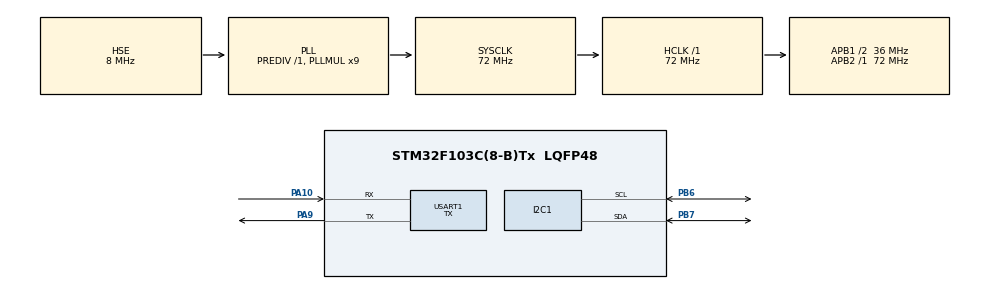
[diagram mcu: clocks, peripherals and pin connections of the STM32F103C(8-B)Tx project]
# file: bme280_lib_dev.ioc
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Mcu.Family=STM32F1
Mcu.Name=STM32F103C(8-B)Tx
Mcu.Package=LQFP48
NVIC.I2C1_EV_IRQn=true\:0\:0\:false\:false\:true\:true\:true\:true
NVIC.PriorityGroup=NVIC_PRIORITYGROUP_4
NVIC.USART1_IRQn=true\:0\:0\:false\:false\:true\:true\:true\:true
PA10.Mode=Asynchronous
PA10.Signal=USART1_RX
PA13.Mode=Serial_Wire
PA13.Signal=SYS_JTMS-SWDIO
PA14.Mode=Serial_Wire
PA14.Signal=SYS_JTCK-SWCLK
PA9.Mode=Asynchronous
PA9.Signal=USART1_TX
PB6.Mode=I2C
PB6.Signal=I2C1_SCL
PB7.Mode=I2C
PB7.Signal=I2C1_SDA
PD0-OSC_IN.Mode=HSE-External-Oscillator
PD0-OSC_IN.Signal=RCC_OSC_IN
PD1-OSC_OUT.Mode=HSE-External-Oscillator
PD1-OSC_OUT.Signal=RCC_OSC_OUT
ProjectManager.HeapSize=0x200
ProjectManager.StackSize=0x400
ProjectManager.TargetToolchain=STM32CubeIDE
RCC.AHBFreq_Value=72000000
RCC.APB1CLKDivider=RCC_HCLK_DIV2
RCC.APB1Freq_Value=36000000
RCC.APB1TimFreq_Value=72000000
RCC.APB2Freq_Value=72000000
RCC.APB2TimFreq_Value=72000000
RCC.HCLKFreq_Value=72000000
RCC.PLLMUL=RCC_PLL_MUL9
RCC.PLLSourceVirtual=RCC_PLLSOURCE_HSE
RCC.SYSCLKFreq_VALUE=72000000
RCC.SYSCLKSource=RCC_SYSCLKSOURCE_PLLCLK
RCC.USBFreq_Value=72000000
USART1.Mode=MODE_TX
USART1.VirtualMode=VM_ASYNC
board=custom

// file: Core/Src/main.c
/* USER CODE BEGIN Header */
/**
 ******************************************************************************
 * @file           : main.c
 * @brief          : Main program body
 ******************************************************************************
 * @attention
 *
 * Copyright (c) 2024 STMicroelectronics.
 * All rights reserved.
 *
 * This software is licensed under terms that can be found in the LICENSE file
 * in the root directory of this software component.
 * If no LICENSE file comes with this software, it is provided AS-IS.
 *
 ******************************************************************************
 */
/* USER CODE END Header */
#include "main.h"
/* USER CODE BEGIN Includes */
#include <stdio.h>
#include "bme280.h"
/* USER CODE END Includes */

I2C_HandleTypeDef hi2c1;

UART_HandleTypeDef huart1;

/* USER CODE BEGIN PV */
BME280_handler_t bme280_hdl;
/* USER CODE END PV */

void SystemClock_Config(void);
static void MX_GPIO_Init(void);
static void MX_I2C1_Init(void);
static void MX_USART1_UART_Init(void);

int main(void) {

	/* MCU Configuration--------------------------------------------------------*/

	/* Reset of all peripherals, Initializes the Flash interface and the Systick. */
	HAL_Init();

	/* Configure the system clock */
	SystemClock_Config();

	/* Initialize all configured peripherals */
	MX_GPIO_Init();
	MX_I2C1_Init();
	MX_USART1_UART_Init();
	/* USER CODE BEGIN 2 */
	BME280_init(&bme280_hdl, I2C, &hi2c1);	// Initializing bme280 handler structure and selecting communication interface

	BME280_measureConfig_t measure_cfg = {};	// Creating and filling measurement config structure
	measure_cfg.filter_coeff = FILTER_X8;
	measure_cfg.hum_oversamp = X1_OVERSAMP;
	measure_cfg.press_oversamp = X4_OVERSAMP;
	measure_cfg.temp_oversamp = X1_OVERSAMP;

	BME280_normal_mode_enable(&bme280_hdl, &measure_cfg);	// Enabling normal mode (continuous measurements)
	BME280_delay(&bme280_hdl, bme280_hdl.current_config->data_flow_info.IIR_response_time);		// Waiting for correct measurements to be established
	/* USER CODE END 2 */

	/* Infinite loop */
	/* USER CODE BEGIN WHILE */
	while (1) {
		BME280_read_comp_parameters(&bme280_hdl, &measure_cfg);		// Reading out and compensating measurement data
		char output[60];	// Buffer for sending sensor data via UART
		int size;			// Output buffer size variable
		while(HAL_UART_GetState(&huart1) != HAL_UART_STATE_READY);	// Waiting for UART module to be free

#if ENABLE_DOUBLE_PRECISION == 1	// Filling output buffer depending on the compensation mode setting
		size = sprintf(output, "pressure: %.2f, temperature: %.2f, humidity: %.2f\n", bme280_hdl.comp_parameters.pressure, \
						   bme280_hdl.comp_parameters.temperature, bme280_hdl.comp_parameters.humidity);
#else
		size = sprintf(output, "pressure: %.2f, temperature: %.2f, humidity: %.2f\n", (float)bme280_hdl.comp_parameters.pressure/256., \
						   (float)bme280_hdl.comp_parameters.temperature/100., (float)bme280_hdl.comp_parameters.humidity/1024.);
#endif
		HAL_UART_Transmit_IT(&huart1, output, size);	// Sending output buffer data via UART

		BME280_delay(&bme280_hdl, bme280_hdl.current_config->data_flow_info.measure_time);	// Waiting for next measurement to be performed
		/* USER CODE END WHILE */

	}
}

void SystemClock_Config(void) {
	RCC_OscInitTypeDef RCC_OscInitStruct = {0};
	RCC_ClkInitTypeDef RCC_ClkInitStruct = {0};

	/** Initializes the RCC Oscillators according to the specified parameters
	 * in the RCC_OscInitTypeDef structure.
	 */
	RCC_OscInitStruct.OscillatorType = RCC_OSCILLATORTYPE_HSE;
	RCC_OscInitStruct.HSEState = RCC_HSE_ON;
	RCC_OscInitStruct.HSEPredivValue = RCC_HSE_PREDIV_DIV1;
	RCC_OscInitStruct.HSIState = RCC_HSI_ON;
	RCC_OscInitStruct.PLL.PLLState = RCC_PLL_ON;
	RCC_OscInitStruct.PLL.PLLSource = RCC_PLLSOURCE_HSE;
	RCC_OscInitStruct.PLL.PLLMUL = RCC_PLL_MUL9;
	if (HAL_RCC_OscConfig(&RCC_OscInitStruct) != HAL_OK) {
		Error_Handler();
	}

	/** Initializes the CPU, AHB and APB buses clocks
	 */
	RCC_ClkInitStruct.ClockType = RCC_CLOCKTYPE_HCLK | RCC_CLOCKTYPE_SYSCLK
			| RCC_CLOCKTYPE_PCLK1 | RCC_CLOCKTYPE_PCLK2;
	RCC_ClkInitStruct.SYSCLKSource = RCC_SYSCLKSOURCE_PLLCLK;
	RCC_ClkInitStruct.AHBCLKDivider = RCC_SYSCLK_DIV1;
	RCC_ClkInitStruct.APB1CLKDivider = RCC_HCLK_DIV2;
	RCC_ClkInitStruct.APB2CLKDivider = RCC_HCLK_DIV1;

	if (HAL_RCC_ClockConfig(&RCC_ClkInitStruct, FLASH_LATENCY_2) != HAL_OK) {
		Error_Handler();
	}
}

static void MX_I2C1_Init(void) {

	hi2c1.Instance = I2C1;
	hi2c1.Init.ClockSpeed = 100000;
	hi2c1.Init.DutyCycle = I2C_DUTYCYCLE_2;
	hi2c1.Init.OwnAddress1 = 0;
	hi2c1.Init.AddressingMode = I2C_ADDRESSINGMODE_7BIT;
	hi2c1.Init.DualAddressMode = I2C_DUALADDRESS_DISABLE;
	hi2c1.Init.OwnAddress2 = 0;
	hi2c1.Init.GeneralCallMode = I2C_GENERALCALL_DISABLE;
	hi2c1.Init.NoStretchMode = I2C_NOSTRETCH_DISABLE;
	if (HAL_I2C_Init(&hi2c1) != HAL_OK) {
		Error_Handler();
	}

}

static void MX_USART1_UART_Init(void) {

	huart1.Instance = USART1;
	huart1.Init.BaudRate = 115200;
	huart1.Init.WordLength = UART_WORDLENGTH_8B;
	huart1.Init.StopBits = UART_STOPBITS_1;
	huart1.Init.Parity = UART_PARITY_NONE;
	huart1.Init.Mode = UART_MODE_TX;
	huart1.Init.HwFlowCtl = UART_HWCONTROL_NONE;
	huart1.Init.OverSampling = UART_OVERSAMPLING_16;
	if (HAL_UART_Init(&huart1) != HAL_OK) {
		Error_Handler();
	}

}

static void MX_GPIO_Init(void) {

	/* GPIO Ports Clock Enable */
	__HAL_RCC_GPIOD_CLK_ENABLE();
	__HAL_RCC_GPIOA_CLK_ENABLE();
	__HAL_RCC_GPIOB_CLK_ENABLE();

}

void Error_Handler(void) {
	__disable_irq();
	while (1) {
	}
}
